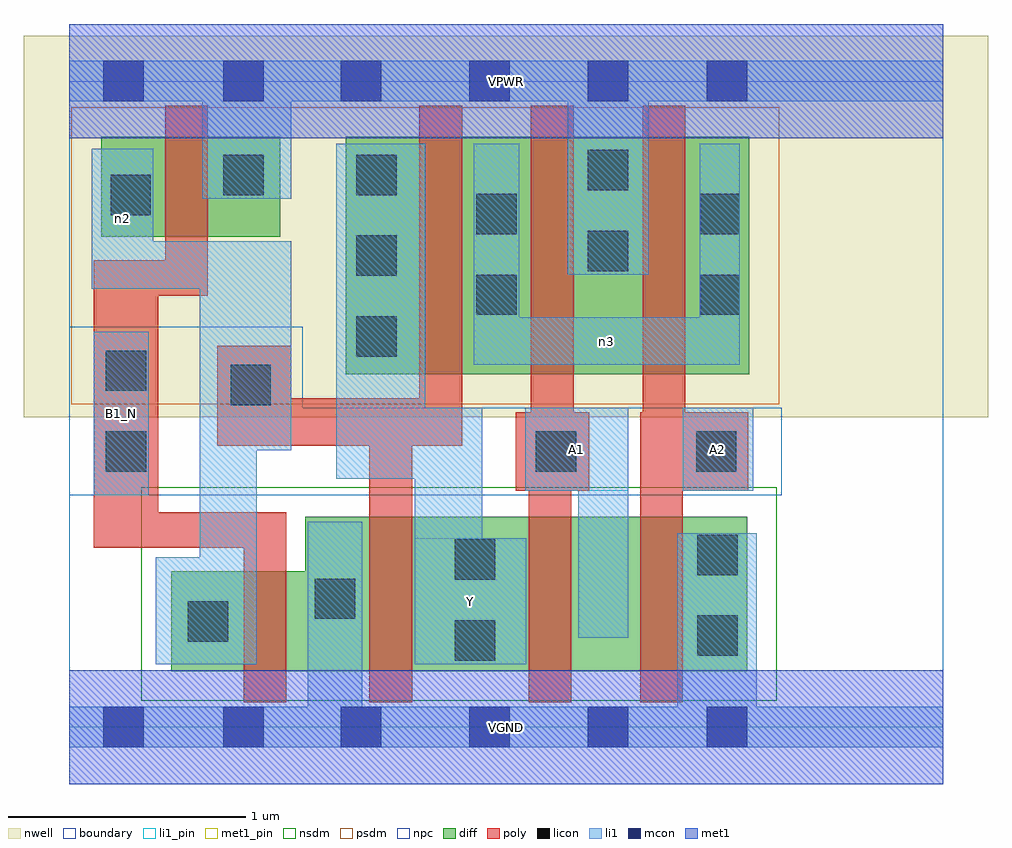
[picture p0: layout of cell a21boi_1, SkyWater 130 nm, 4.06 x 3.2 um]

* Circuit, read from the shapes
.subckt a21boi_1 A1 A2 B1_N VGND VPWR Y n2 n3
XM1 VGND B1_N n2 VSUBS sky130_fd_pr__nfet_01v8 w=0.42 l=0.18
XM2 Y n2 VGND VSUBS sky130_fd_pr__nfet_01v8 w=0.65 l=0.18
XM3 n1 A1 Y VSUBS sky130_fd_pr__nfet_01v8 w=0.65 l=0.18
XM4 VGND A2 n1 VSUBS sky130_fd_pr__nfet_01v8 w=0.65 l=0.18
XM5 VPWR B1_N n2 n4 sky130_fd_pr__pfet_01v8 w=0.42 l=0.18
XM6 n3 n2 Y n4 sky130_fd_pr__pfet_01v8 w=1 l=0.18
XM7 VPWR A1 n3 n4 sky130_fd_pr__pfet_01v8 w=1 l=0.18
XM8 n3 A2 VPWR n4 sky130_fd_pr__pfet_01v8 w=1 l=0.18
.ends

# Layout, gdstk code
import gdstk
lib = gdstk.Library(unit=1e-6, precision=1e-09)
def R(c, l, rs):  # rectangles x0, y0, x1, y1
    for r in rs: c.add(gdstk.rectangle(r[:2], r[2:], *l))
def A(c, l, x, y, w, h, nx, ny, dx, dy):  # array of equal rectangles
    R(c, l, [(x+i*dx, y+j*dy, x+i*dx+w, y+j*dy+h) for i in range(nx) for j in range(ny)])
nwell = (64, 20)
diff = (65, 20)
poly = (66, 20)
licon = (66, 44)
li1_pin = (67, 16)
li1 = (67, 20)
mcon = (67, 44)
met1_pin = (68, 16)
met1 = (68, 20)
nsdm = (93, 44)
psdm = (94, 20)
npc = (95, 20)
boundary = (235, 4)

a21boi_1 = lib.new_cell('a21boi_1')
R(a21boi_1, nwell, [(-0.19,1.305,3.87,2.91), (0,1.305,3.68,2.91)])
R(a21boi_1, diff, [(0.43,0.235,2.855,0.655), (0.995,0.235,2.855,0.885), (1.165,1.485,2.865,2.485), (0.135,2.065,0.89,2.485)])
R(a21boi_1, poly, [(0.735,0.105,0.915,0.905), (1.265,0.105,1.445,1.385), (1.935,0.105,2.115,1.325), (2.405,0.105,2.585,1.325), (0.105,0.755,0.375,1.965), (0.105,0.755,0.915,0.905), (1.88,0.995,2.19,1.325), (1.945,0.995,2.125,2.615), (2.405,0.995,2.86,1.325), (2.415,0.995,2.595,2.615), (0.625,1.185,1.655,1.385), (0.625,1.185,0.935,1.605), (1.475,1.185,1.655,2.615), (0.105,1.815,0.585,1.965), (0.405,1.815,0.585,2.615)])
A(a21boi_1, licon, 1.21, 1.56, 0.17, 0.17, 1, 3, 0, 0.34)
R(a21boi_1, licon, [(1.625,0.28,1.795,0.45), (2.645,0.3,2.815,0.47), (0.5,0.36,0.67,0.53), (1.035,0.455,1.205,0.625), (1.625,0.62,1.795,0.79), (2.645,0.64,2.815,0.81), (0.155,1.075,0.325,1.245), (1.965,1.075,2.135,1.245), (2.64,1.075,2.81,1.245), (0.68,1.355,0.85,1.525), (0.155,1.415,0.325,1.585), (1.715,1.735,1.885,1.905), (2.655,1.735,2.825,1.905), (2.185,1.92,2.355,2.09), (1.715,2.075,1.885,2.245), (2.655,2.075,2.825,2.245), (0.175,2.155,0.345,2.325), (0.65,2.24,0.82,2.41), (2.185,2.26,2.355,2.43)])
R(a21boi_1, li1_pin, [(1.455,0.265,1.925,0.795), (0.105,0.975,0.335,1.665), (1.92,0.995,2.355,1.345), (2.585,0.995,2.88,1.345)])
R(a21boi_1, li1, [(0,-0.085,3.68,0.085), (1.005,-0.085,1.235,0.865), (2.56,-0.085,2.895,0.815), (0.365,0.265,0.79,0.715), (0.55,0.265,0.79,2.045), (1.455,0.265,1.74,1.345), (1.455,0.265,1.925,0.795), (2.145,0.375,2.355,1.345), (0.105,0.975,0.335,1.665), (1.92,0.995,2.355,1.345), (2.585,0.995,2.88,1.345), (1.125,1.045,1.5,2.455), (0.55,1.165,0.935,2.045), (1.705,1.525,2.825,1.725), (1.705,1.525,1.895,2.455), (2.655,1.525,2.825,2.455), (0.095,1.845,0.355,2.435), (0.095,1.845,0.935,2.045), (2.1,1.905,2.44,2.805), (0.56,2.225,0.935,2.805), (0,2.635,3.68,2.805)])
A(a21boi_1, mcon, 1.685, -0.085, 0.17, 0.17, 3, 2, 0.5, 2.72)
R(a21boi_1, mcon, [(0.145,-0.085,0.315,0.085), (0.65,-0.085,0.82,0.085), (1.145,-0.085,1.315,0.085), (0.145,2.635,0.315,2.805), (0.65,2.635,0.82,2.805), (1.145,2.635,1.315,2.805)])
R(a21boi_1, met1_pin, [(0,-0.24,3.68,0.24), (0,2.48,3.68,2.96)])
R(a21boi_1, met1, [(0,-0.24,3.68,0.24), (0,2.48,3.68,2.96)])
R(a21boi_1, nsdm, [(0.305,0.11,2.98,1.01)])
R(a21boi_1, psdm, [(0.01,1.36,2.99,2.61)])
R(a21boi_1, npc, [(0,0.975,3,1.345), (0,0.975,0.985,1.685)])
R(a21boi_1, boundary, [(0,0,3.68,2.72)])
a21boi_1.add(gdstk.Label('A1', (2.137,1.17), layer=67, texttype=5))
a21boi_1.add(gdstk.Label('A2', (2.732,1.17), layer=67, texttype=5))
a21boi_1.add(gdstk.Label('B1_N', (0.22,1.32), layer=67, texttype=5))
a21boi_1.add(gdstk.Label('Y', (1.69,0.53), layer=67, texttype=5))
a21boi_1.add(gdstk.Label('n2', (0.225,2.14), layer=67, texttype=5))
a21boi_1.add(gdstk.Label('n3', (2.265,1.625), layer=67, texttype=5))
a21boi_1.add(gdstk.Label('VPWR', (1.84,2.72), layer=68, texttype=5))
a21boi_1.add(gdstk.Label('VGND', (1.84,0), layer=68, texttype=5))
a21boi_1.add(gdstk.Label('A1', (2.137,1.17), layer=67, texttype=16))
a21boi_1.add(gdstk.Label('A2', (2.732,1.17), layer=67, texttype=16))
a21boi_1.add(gdstk.Label('B1_N', (0.22,1.32), layer=67, texttype=16))
a21boi_1.add(gdstk.Label('Y', (1.69,0.53), layer=67, texttype=16))
a21boi_1.add(gdstk.Label('VPWR', (1.84,2.72), layer=68, texttype=16))
a21boi_1.add(gdstk.Label('VGND', (1.84,0), layer=68, texttype=16))

lib.write_gds('a21boi_1.gds')
